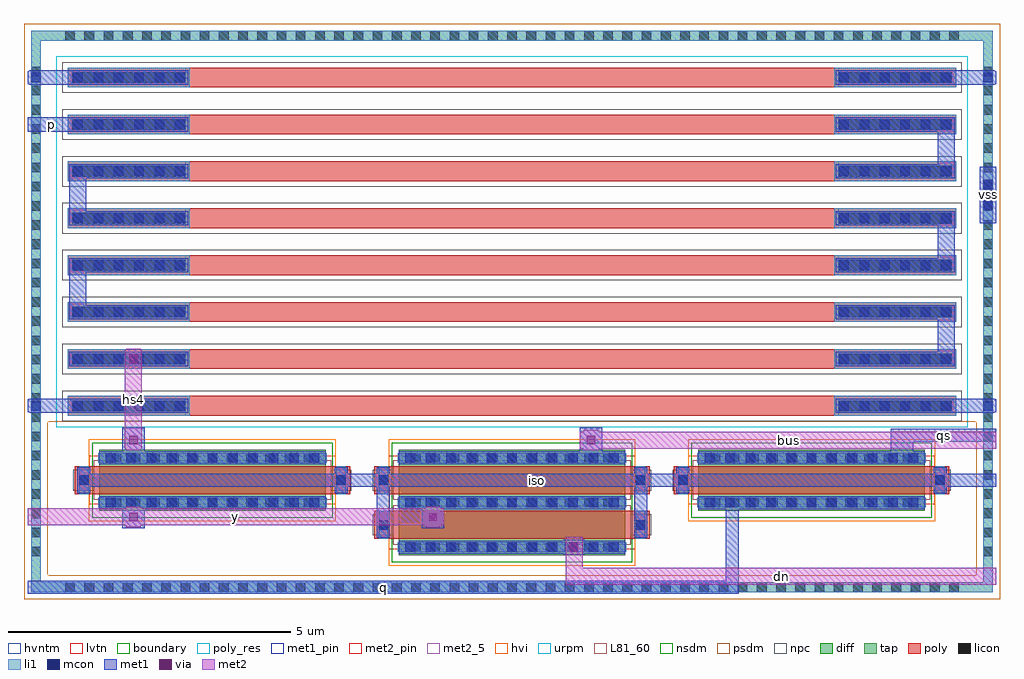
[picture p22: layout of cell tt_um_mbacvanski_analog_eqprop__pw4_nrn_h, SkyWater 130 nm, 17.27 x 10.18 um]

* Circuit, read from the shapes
.subckt tt_um_mbacvanski_analog_eqprop__pw4_nrn_h bus dn hs4 iso p q qs vss y
XM1 hs4 iso y vss sky130_fd_pr__nfet_05v0_nvt w=4 l=0.5
XM2 y iso dn vss sky130_fd_pr__nfet_05v0_nvt w=4 l=0.5
XM3 bus iso y vss sky130_fd_pr__nfet_05v0_nvt w=4 l=0.5
XM4 qs iso q vss sky130_fd_pr__nfet_05v0_nvt w=4 l=0.5
XR5 vss vss vss sky130_fd_pr__res_xhigh_po w=0.35 l=11.44 m=2
XR6 tt_um_mbacvanski_analog_eqprop__strips8_1/R1_5 hs4 vss sky130_fd_pr__res_xhigh_po w=0.35 l=11.44
XR7 tt_um_mbacvanski_analog_eqprop__strips8_1/R1_5 tt_um_mbacvanski_analog_eqprop__strips8_1/R2_4 vss sky130_fd_pr__res_xhigh_po w=0.35 l=11.44
XR8 tt_um_mbacvanski_analog_eqprop__strips8_1/R1_3 tt_um_mbacvanski_analog_eqprop__strips8_1/R2_4 vss sky130_fd_pr__res_xhigh_po w=0.35 l=11.44
XR9 tt_um_mbacvanski_analog_eqprop__strips8_1/R1_3 tt_um_mbacvanski_analog_eqprop__strips8_1/R2_2 vss sky130_fd_pr__res_xhigh_po w=0.35 l=11.44
XR10 tt_um_mbacvanski_analog_eqprop__strips8_1/R1_1 tt_um_mbacvanski_analog_eqprop__strips8_1/R2_2 vss sky130_fd_pr__res_xhigh_po w=0.35 l=11.44
XR11 tt_um_mbacvanski_analog_eqprop__strips8_1/R1_1 p vss sky130_fd_pr__res_xhigh_po w=0.35 l=11.44
.ends

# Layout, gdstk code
from math import pi, radians
import gdstk
lib = gdstk.Library(unit=1e-6, precision=1e-09)
def R(c, l, rs):  # rectangles x0, y0, x1, y1
    for r in rs: c.add(gdstk.rectangle(r[:2], r[2:], *l))
def A(c, l, x, y, w, h, nx, ny, dx, dy):  # array of equal rectangles
    R(c, l, [(x+i*dx, y+j*dy, x+i*dx+w, y+j*dy+h) for i in range(nx) for j in range(ny)])
diff = (65, 20)
tap = (65, 44)
poly_res = (66, 13)
poly = (66, 20)
licon = (66, 44)
li1 = (67, 20)
mcon = (67, 44)
met1_pin = (68, 16)
met1 = (68, 20)
via = (68, 44)
met2_5 = (69, 5)
met2_pin = (69, 16)
met2 = (69, 20)
hvi = (75, 20)
urpm = (79, 20)
L81_60 = (81, 60)
nsdm = (93, 44)
psdm = (94, 20)
npc = (95, 20)
hvntm = (125, 20)
lvtn = (125, 44)
boundary = (235, 4)

tt_um_mbacvanski_analog_ = lib.new_cell('tt_um_mbacvanski_analog_eqprop__sw8')
R(tt_um_mbacvanski_analog_, diff, [(-0.935,-2,0.935,2)])
R(tt_um_mbacvanski_analog_, poly, [(-0.645,-2.44,-0.145,2.44), (0.145,-2.44,0.645,2.44)])
A(tt_um_mbacvanski_analog_, licon, -0.875, -1.785, 0.17, 0.17, 3, 11, 0.79, 0.34)
R(tt_um_mbacvanski_analog_, licon, [(-0.48,-2.36,-0.31,-2.19), (0.31,-2.36,0.48,-2.19), (-0.48,2.19,-0.31,2.36), (0.31,2.19,0.48,2.36)])
A(tt_um_mbacvanski_analog_, li1, -0.875, -2.02, 0.17, 4.04, 3, 1, 0.79, 0)
R(tt_um_mbacvanski_analog_, li1, [(-0.645,-2.36,-0.145,-2.19), (0.145,-2.36,0.645,-2.19), (-0.645,2.19,-0.145,2.36), (0.145,2.19,0.645,2.36)])
A(tt_um_mbacvanski_analog_, mcon, -0.875, -1.885, 0.17, 0.17, 3, 11, 0.79, 0.36)
R(tt_um_mbacvanski_analog_, mcon, [(-0.48,-2.36,-0.31,-2.19), (0.31,-2.36,0.48,-2.19), (-0.48,2.19,-0.31,2.36), (0.31,2.19,0.48,2.36)])
A(tt_um_mbacvanski_analog_, met1, -0.905, -2, 0.23, 4, 3, 1, 0.79, 0)
R(tt_um_mbacvanski_analog_, met1, [(-0.625,-2.39,-0.165,-2.16), (0.165,-2.39,0.625,-2.16), (-0.625,2.16,-0.165,2.39), (0.165,2.16,0.625,2.39)])
R(tt_um_mbacvanski_analog_, hvi, [(-1.12,-2.185,1.12,2.185)])
R(tt_um_mbacvanski_analog_, L81_60, [(-0.745,-2.1,-0.045,2.1), (0.045,-2.1,0.745,2.1)])
R(tt_um_mbacvanski_analog_, nsdm, [(-1.06,-2.125,1.06,2.125)])
R(tt_um_mbacvanski_analog_, npc, [(-0.58,-2.46,-0.21,-2.09), (0.21,-2.46,0.58,-2.09), (-0.58,2.09,-0.21,2.46), (0.21,2.09,0.58,2.46)])
R(tt_um_mbacvanski_analog_, hvntm, [(-1.12,-2.185,1.12,2.185)])
R(tt_um_mbacvanski_analog_, lvtn, [(-0.825,-2.18,0.825,2.18)])
tt_um_mbacvanski_analog_.add(gdstk.Label('G1', (0.395,2.275), layer=67, texttype=5))
tt_um_mbacvanski_analog_.add(gdstk.Label('S1', (0,0), layer=67, texttype=5))
tt_um_mbacvanski_analog_.add(gdstk.Label('G0', (-0.395,2.275), layer=67, texttype=5))
tt_um_mbacvanski_analog_.add(gdstk.Label('D0', (-0.79,0), layer=67, texttype=5))

c_tt_um_mbacvanski_analog_ = lib.new_cell('tt_um_mbacvanski_analog_eqprop__strips8')
A(c_tt_um_mbacvanski_analog_, poly_res, -3.08, -5.78, 0.35, 11.56, 8, 1, 0.83, 0)
A(c_tt_um_mbacvanski_analog_, poly, -3.08, -7.86, 0.35, 15.72, 8, 1, 0.83, 0)
A(c_tt_um_mbacvanski_analog_, licon, -3, -7.78, 0.19, 2, 8, 2, 0.83, 13.56)
A(c_tt_um_mbacvanski_analog_, li1, -3.08, -7.86, 0.35, 2.16, 8, 2, 0.83, 13.56)
A(c_tt_um_mbacvanski_analog_, mcon, -2.99, -7.765, 0.17, 0.17, 8, 6, 0.83, 0.36)
A(c_tt_um_mbacvanski_analog_, mcon, -2.99, 5.79, 0.17, 0.17, 8, 6, 0.83, 0.36)
A(c_tt_um_mbacvanski_analog_, met1, -3.03, -7.83, 0.25, 2.105, 8, 2, 0.83, 13.555)
R(c_tt_um_mbacvanski_analog_, urpm, [(-3.28,-8.06,3.28,8.06)])
R(c_tt_um_mbacvanski_analog_, psdm, [(-3.19,-7.97,3.19,7.97)])
A(c_tt_um_mbacvanski_analog_, npc, -3.175, -7.955, 0.54, 15.91, 8, 1, 0.83, 0)
c_tt_um_mbacvanski_analog_.add(gdstk.Label('R2_7', (2.905,-7.685), layer=67, texttype=5))
c_tt_um_mbacvanski_analog_.add(gdstk.Label('R1_7', (2.905,7.685), layer=67, texttype=5))
c_tt_um_mbacvanski_analog_.add(gdstk.Label('R2_6', (2.075,-7.685), layer=67, texttype=5))
c_tt_um_mbacvanski_analog_.add(gdstk.Label('R1_0', (-2.905,7.685), layer=67, texttype=5))
c_tt_um_mbacvanski_analog_.add(gdstk.Label('R1_3', (-0.415,7.685), layer=67, texttype=5))
c_tt_um_mbacvanski_analog_.add(gdstk.Label('R1_1', (-2.075,7.685), layer=67, texttype=5))
c_tt_um_mbacvanski_analog_.add(gdstk.Label('R2_5', (1.245,-7.685), layer=67, texttype=5))
c_tt_um_mbacvanski_analog_.add(gdstk.Label('R2_0', (-2.905,-7.685), layer=67, texttype=5))
c_tt_um_mbacvanski_analog_.add(gdstk.Label('R2_1', (-2.075,-7.685), layer=67, texttype=5))
c_tt_um_mbacvanski_analog_.add(gdstk.Label('R2_2', (-1.245,-7.685), layer=67, texttype=5))
c_tt_um_mbacvanski_analog_.add(gdstk.Label('R1_6', (2.075,7.685), layer=67, texttype=5))
c_tt_um_mbacvanski_analog_.add(gdstk.Label('R2_3', (-0.415,-7.685), layer=67, texttype=5))
c_tt_um_mbacvanski_analog_.add(gdstk.Label('R1_2', (-1.245,7.685), layer=67, texttype=5))
c_tt_um_mbacvanski_analog_.add(gdstk.Label('R2_4', (0.415,-7.685), layer=67, texttype=5))
c_tt_um_mbacvanski_analog_.add(gdstk.Label('R1_5', (1.245,7.685), layer=67, texttype=5))
c_tt_um_mbacvanski_analog_.add(gdstk.Label('R1_4', (0.415,7.685), layer=67, texttype=5))

c_tt_um_mbacvanski_analog__ = lib.new_cell('tt_um_mbacvanski_analog_eqprop__sw4')
R(c_tt_um_mbacvanski_analog__, diff, [(-0.54,-2,0.54,2)])
R(c_tt_um_mbacvanski_analog__, poly, [(-0.25,-2.44,0.25,2.44)])
A(c_tt_um_mbacvanski_analog__, licon, -0.48, -1.785, 0.17, 0.17, 1, 11, 0, 0.34)
A(c_tt_um_mbacvanski_analog__, licon, 0.31, -1.785, 0.17, 0.17, 1, 11, 0, 0.34)
R(c_tt_um_mbacvanski_analog__, licon, [(-0.085,-2.36,0.085,-2.19), (-0.085,2.19,0.085,2.36)])
R(c_tt_um_mbacvanski_analog__, li1, [(-0.25,-2.36,0.25,-2.19), (-0.48,-2.02,-0.31,2.02), (0.31,-2.02,0.48,2.02), (-0.25,2.19,0.25,2.36)])
A(c_tt_um_mbacvanski_analog__, mcon, -0.48, -1.885, 0.17, 0.17, 1, 11, 0, 0.36)
A(c_tt_um_mbacvanski_analog__, mcon, 0.31, -1.885, 0.17, 0.17, 1, 11, 0, 0.36)
R(c_tt_um_mbacvanski_analog__, mcon, [(-0.085,-2.36,0.085,-2.19), (-0.085,2.19,0.085,2.36)])
R(c_tt_um_mbacvanski_analog__, met1, [(-0.23,-2.39,0.23,-2.16), (-0.51,-2,-0.28,2), (0.28,-2,0.51,2), (-0.23,2.16,0.23,2.39)])
R(c_tt_um_mbacvanski_analog__, hvi, [(-0.725,-2.185,0.725,2.185)])
R(c_tt_um_mbacvanski_analog__, L81_60, [(-0.35,-2.1,0.35,2.1)])
R(c_tt_um_mbacvanski_analog__, nsdm, [(-0.665,-2.125,0.665,2.125)])
R(c_tt_um_mbacvanski_analog__, npc, [(-0.185,-2.46,0.185,-2.09), (-0.185,2.09,0.185,2.46)])
R(c_tt_um_mbacvanski_analog__, hvntm, [(-0.725,-2.185,0.725,2.185)])
R(c_tt_um_mbacvanski_analog__, lvtn, [(-0.43,-2.18,0.43,2.18)])
c_tt_um_mbacvanski_analog__.add(gdstk.Label('G', (0,2.275), layer=67, texttype=5))
c_tt_um_mbacvanski_analog__.add(gdstk.Label('S', (0.395,0), layer=67, texttype=5))
c_tt_um_mbacvanski_analog__.add(gdstk.Label('D', (-0.395,0), layer=67, texttype=5))

c_tt_um_mbacvanski_analog___ = lib.new_cell('tt_um_mbacvanski_analog_eqprop__pw4_nrn_h')
R(c_tt_um_mbacvanski_analog___, tap, [(0,0,17.02,0.17), (0,0.17,0.17,9.76), (16.85,0.17,17.02,9.76), (0,9.76,17.02,9.93)])
A(c_tt_um_mbacvanski_analog___, licon, 0.605, 0, 0.17, 0.17, 47, 2, 0.34, 9.76)
A(c_tt_um_mbacvanski_analog___, licon, 0, 0.63, 0.17, 0.17, 1, 26, 0, 0.34)
A(c_tt_um_mbacvanski_analog___, licon, 16.85, 0.63, 0.17, 0.17, 1, 26, 0, 0.34)
R(c_tt_um_mbacvanski_analog___, li1, [(0,0,17.02,0.17), (0,0.17,0.17,9.76), (16.85,0.17,17.02,9.76), (0,9.76,17.02,9.93)])
R(c_tt_um_mbacvanski_analog___, mcon, [(0,3.21,0.17,3.38), (16.85,3.21,17.02,3.38), (16.85,6.765,17.02,6.935), (16.85,7.125,17.02,7.295), (0,9.02,0.17,9.19), (16.85,9.02,17.02,9.19)])
R(c_tt_um_mbacvanski_analog___, met1_pin, [(6.18,0.035,6.28,0.135), (8.9,1.93,9,2.03), (16.095,2.725,16.195,2.825), (16.885,6.98,16.985,7.08), (0.31,8.225,0.41,8.325)])
A(c_tt_um_mbacvanski_analog___, met1, 16.04, 4, 0.3, 1.08, 1, 3, 0, 1.66)
R(c_tt_um_mbacvanski_analog___, met1, [(-0.06,-0.03,12.525,0.2), (12.295,0.2,12.525,1.52), (9.43,0.665,9.79,0.925), (6.12,0.96,6.35,1.865), (10.67,0.96,10.9,1.865), (1.61,1.13,2.01,1.7), (6.91,1.13,7.31,1.7), (0.82,1.865,17.08,2.095), (6.12,2.095,6.35,2.21), (10.67,2.095,10.9,2.21), (1.61,2.26,2.01,2.91), (9.71,2.26,10.11,2.91), (15.21,2.26,15.61,2.66), (15.21,2.66,17.08,2.89), (-0.03,3.17,0.78,3.18), (16.24,3.17,17.05,3.18), (-0.06,3.18,0.78,3.41), (16.24,3.18,17.08,3.41), (-0.03,3.41,0.78,3.42), (16.24,3.41,17.05,3.42), (1.63,3.995,1.99,4.255), (0.68,4.83,0.98,5.91), (0.68,6.49,0.98,7.57), (16.79,6.53,17.08,7.53), (-0.06,8.15,0.78,8.4), (-0.03,8.98,0.78,8.99), (16.24,8.98,17.05,8.99), (-0.06,8.99,0.78,9.22), (16.24,8.99,17.08,9.22), (-0.03,9.22,0.78,9.23), (16.24,9.22,17.05,9.23)])
R(c_tt_um_mbacvanski_analog___, via, [(9.535,0.72,9.685,0.87), (1.735,1.255,1.885,1.405), (7.035,1.255,7.185,1.405), (1.735,2.615,1.885,2.765), (9.835,2.615,9.985,2.765), (1.735,4.05,1.885,4.2)])
R(c_tt_um_mbacvanski_analog___, met2_5, [(1.76,3.36,1.86,3.46)])
R(c_tt_um_mbacvanski_analog___, met2_pin, [(13.22,0.23,13.32,0.33), (3.575,1.28,3.675,1.38), (13.345,2.64,13.445,2.74)])
R(c_tt_um_mbacvanski_analog___, met2, [(9.46,0.13,17.08,0.43), (9.46,0.43,9.76,0.975), (1.68,1.15,1.94,1.18), (6.98,1.15,7.24,1.18), (-0.06,1.18,7.31,1.48), (1.68,1.48,1.94,1.51), (6.98,1.48,7.24,1.51), (1.68,2.51,1.94,2.54), (9.78,2.51,10.04,2.54), (1.66,2.54,1.96,4.275), (9.71,2.54,17.08,2.84), (9.78,2.84,10.04,2.87), (1.68,4.275,1.94,4.305)])
R(c_tt_um_mbacvanski_analog___, psdm, [(-0.125,-0.125,17.145,0.295), (-0.125,0.295,0.295,3.01), (16.725,0.295,17.145,3.01), (-0.125,3.01,0.54,9.39), (16.48,3.01,17.145,9.39), (-0.125,9.39,17.145,10.055)])
R(c_tt_um_mbacvanski_analog___, boundary, [(0,0,17.02,9.93)])
c_tt_um_mbacvanski_analog___.add(gdstk.Reference(tt_um_mbacvanski_analog_, (8.51,1.585), rotation=3*pi/2))
c_tt_um_mbacvanski_analog___.add(gdstk.Reference(c_tt_um_mbacvanski_analog_, (8.51,6.2), rotation=3*pi/2))
c_tt_um_mbacvanski_analog___.add(gdstk.Reference(c_tt_um_mbacvanski_analog__, (3.21,1.98), rotation=3*pi/2))
c_tt_um_mbacvanski_analog___.add(gdstk.Reference(c_tt_um_mbacvanski_analog__, (13.81,1.98), rotation=3*pi/2))
c_tt_um_mbacvanski_analog___.add(gdstk.Label('vss', (16.935,7.03), layer=68, texttype=5))
c_tt_um_mbacvanski_analog___.add(gdstk.Label('q', (6.23,0.085), layer=68, texttype=5))
c_tt_um_mbacvanski_analog___.add(gdstk.Label('p', (0.36,8.275), layer=68, texttype=5))
c_tt_um_mbacvanski_analog___.add(gdstk.Label('qs', (16.145,2.775), layer=68, texttype=5))
c_tt_um_mbacvanski_analog___.add(gdstk.Label('iso', (8.95,1.98), layer=68, texttype=5))
c_tt_um_mbacvanski_analog___.add(gdstk.Label('dn', (13.27,0.28), layer=69, texttype=5))
c_tt_um_mbacvanski_analog___.add(gdstk.Label('bus', (13.395,2.69), layer=69, texttype=5))
c_tt_um_mbacvanski_analog___.add(gdstk.Label('y', (3.625,1.33), layer=69, texttype=5))
c_tt_um_mbacvanski_analog___.add(gdstk.Label('hs4', (1.81,3.41), layer=69, texttype=5))

lib.write_gds('tt_um_mbacvanski_analog_eqprop__pw4_nrn_h.gds')
